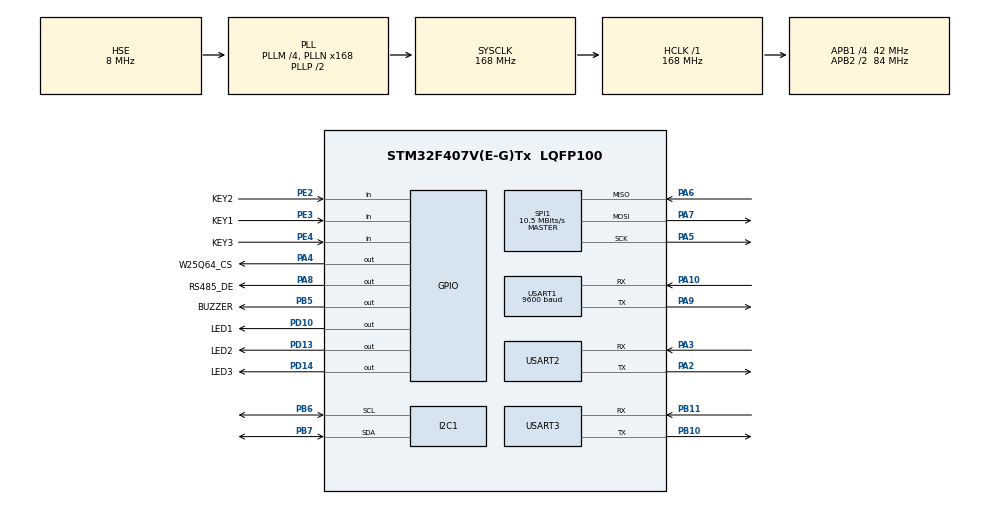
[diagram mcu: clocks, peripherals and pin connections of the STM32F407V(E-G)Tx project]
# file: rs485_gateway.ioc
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Dma.Request0=USART1_RX
Dma.Request1=USART3_RX
Dma.USART1_RX.0.Direction=DMA_PERIPH_TO_MEMORY
Dma.USART1_RX.0.FIFOMode=DMA_FIFOMODE_DISABLE
Dma.USART1_RX.0.Instance=DMA2_Stream2
Dma.USART1_RX.0.MemDataAlignment=DMA_MDATAALIGN_BYTE
Dma.USART1_RX.0.MemInc=DMA_MINC_ENABLE
Dma.USART1_RX.0.Mode=DMA_NORMAL
Dma.USART1_RX.0.PeriphDataAlignment=DMA_PDATAALIGN_BYTE
Dma.USART1_RX.0.PeriphInc=DMA_PINC_DISABLE
Dma.USART1_RX.0.Priority=DMA_PRIORITY_LOW
Dma.USART3_RX.1.Direction=DMA_PERIPH_TO_MEMORY
Dma.USART3_RX.1.FIFOMode=DMA_FIFOMODE_DISABLE
Dma.USART3_RX.1.Instance=DMA1_Stream1
Dma.USART3_RX.1.MemDataAlignment=DMA_MDATAALIGN_BYTE
Dma.USART3_RX.1.MemInc=DMA_MINC_ENABLE
Dma.USART3_RX.1.Mode=DMA_NORMAL
Dma.USART3_RX.1.PeriphDataAlignment=DMA_PDATAALIGN_BYTE
Dma.USART3_RX.1.PeriphInc=DMA_PINC_DISABLE
Dma.USART3_RX.1.Priority=DMA_PRIORITY_LOW
I2C1.I2C_Mode=I2C_Fast
Mcu.Family=STM32F4
Mcu.Name=STM32F407V(E-G)Tx
Mcu.Package=LQFP100
NVIC.DMA1_Stream1_IRQn=true\:5\:0\:true\:false\:true\:false\:true\:true
NVIC.DMA2_Stream2_IRQn=true\:5\:0\:true\:false\:true\:false\:true\:true
NVIC.PriorityGroup=NVIC_PRIORITYGROUP_4
NVIC.TIM6_DAC_IRQn=true\:15\:0\:false\:false\:true\:false\:true\:true
NVIC.TimeBase=TIM6_DAC_IRQn
NVIC.TimeBaseIP=TIM6
NVIC.USART1_IRQn=true\:5\:0\:true\:false\:true\:true\:true\:true
NVIC.USART3_IRQn=true\:5\:0\:true\:false\:true\:true\:true\:true
PA10.Mode=Asynchronous
PA10.Signal=USART1_RX
PA13.Mode=Serial_Wire
PA13.Signal=SYS_JTMS-SWDIO
PA14.Mode=Serial_Wire
PA14.Signal=SYS_JTCK-SWCLK
PA2.Mode=Asynchronous
PA2.Signal=USART2_TX
PA3.Mode=Asynchronous
PA3.Signal=USART2_RX
PA4.GPIO_Label=W25Q64_CS
PA4.GPIO_Speed=GPIO_SPEED_FREQ_VERY_HIGH
PA4.PinState=GPIO_PIN_SET
PA4.Signal=GPIO_Output
PA5.Mode=Full_Duplex_Master
PA5.Signal=SPI1_SCK
PA6.Mode=Full_Duplex_Master
PA6.Signal=SPI1_MISO
PA7.Mode=Full_Duplex_Master
PA7.Signal=SPI1_MOSI
PA8.GPIO_Label=RS485_DE
PA8.Signal=GPIO_Output
PA9.Mode=Asynchronous
PA9.Signal=USART1_TX
PB10.Mode=Asynchronous
PB10.Signal=USART3_TX
PB11.Mode=Asynchronous
PB11.Signal=USART3_RX
PB5.GPIO_Label=BUZZER
PB5.GPIO_PuPd=GPIO_NOPULL
PB5.PinState=GPIO_PIN_SET
PB5.Signal=GPIO_Output
PB6.Mode=I2C
PB6.Signal=I2C1_SCL
PB7.Mode=I2C
PB7.Signal=I2C1_SDA
PD10.GPIO_Label=LED1
PD10.Signal=GPIO_Output
PD13.GPIO_Label=LED2
PD13.Signal=GPIO_Output
PD14.GPIO_Label=LED3
PD14.Signal=GPIO_Output
PE2.GPIO_Label=KEY2
PE2.GPIO_PuPd=GPIO_PULLUP
PE2.Signal=GPIO_Input
PE3.GPIO_Label=KEY1
PE3.GPIO_PuPd=GPIO_PULLUP
PE3.Signal=GPIO_Input
PE4.GPIO_Label=KEY3
PE4.GPIO_PuPd=GPIO_PULLUP
PE4.Signal=GPIO_Input
PH0-OSC_IN.Mode=HSE-External-Oscillator
PH0-OSC_IN.Signal=RCC_OSC_IN
PH1-OSC_OUT.Mode=HSE-External-Oscillator
PH1-OSC_OUT.Signal=RCC_OSC_OUT
ProjectManager.HeapSize=0x200
ProjectManager.StackSize=0x400
ProjectManager.TargetToolchain=MDK-ARM V5.32
RCC.48MHZClocksFreq_Value=84000000
RCC.AHBFreq_Value=168000000
RCC.APB1CLKDivider=RCC_HCLK_DIV4
RCC.APB1Freq_Value=42000000
RCC.APB1TimFreq_Value=84000000
RCC.APB2CLKDivider=RCC_HCLK_DIV2
RCC.APB2Freq_Value=84000000
RCC.APB2TimFreq_Value=168000000
RCC.CortexFreq_Value=168000000
RCC.HCLKFreq_Value=168000000
RCC.HSE_VALUE=8000000
RCC.HSI_VALUE=16000000
RCC.LSE_VALUE=32768
RCC.PLLM=4
RCC.PLLN=168
RCC.PLLSourceVirtual=RCC_PLLSOURCE_HSE
RCC.SYSCLKFreq_VALUE=168000000
RCC.SYSCLKSource=RCC_SYSCLKSOURCE_PLLCLK
RCC.VCOOutputFreq_Value=336000000
SPI1.BaudRatePrescaler=SPI_BAUDRATEPRESCALER_8
SPI1.CalculateBaudRate=10.5 MBits/s
SPI1.Direction=SPI_DIRECTION_2LINES
SPI1.Mode=SPI_MODE_MASTER
SPI1.VirtualType=VM_MASTER
USART1.BaudRate=9600
USART1.VirtualMode=VM_ASYNC
USART2.VirtualMode=VM_ASYNC
USART3.VirtualMode=VM_ASYNC
VP_SYS_VS_tim6.Mode=TIM6
board=custom

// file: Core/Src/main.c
/* USER CODE BEGIN Header */
/**
  ******************************************************************************
  * @file           : main.c
  * @brief          : Main program body
  ******************************************************************************
  * @attention
  *
  * Copyright (c) 2026 STMicroelectronics.
  * All rights reserved.
  *
  * This software is licensed under terms that can be found in the LICENSE file
  * in the root directory of this software component.
  * If no LICENSE file comes with this software, it is provided AS-IS.
  *
  ******************************************************************************
  */
/* USER CODE END Header */
#include "main.h"
#include "dma.h"
#include "i2c.h"
#include "spi.h"
#include "usart.h"
#include "gpio.h"

/* USER CODE BEGIN Includes */
#include <stdio.h>
#include "rs485.h"
#include "modbus.h"
#include "oled.h"
#include <string.h>
#include <stdarg.h>
#include "esp01s.h"
#include "param.h"       /* 报警阈值掉电保存（Flash 扇区 11） */
#include "w25q64.h"      /* 外部 SPI Flash：OTA 固件暂存与备份 */
#include "ota.h"         /* OTA 共享定义：分区地址 / 暂存区头部 / CRC16 */
#include "FreeRTOS.h"
#include "task.h"
#include "queue.h"
#include "semphr.h"

/* USER CODE END Includes */

/* USER CODE BEGIN PD */
#define WIFI_SSID    "YOUR_SSID"       /* 2.4G 热点名（ESP-01S 只支持 2.4G，勿填 5G） */
#define WIFI_PWD     "YOUR_PASSWORD"   /* 热点密码 */
/* ---- 上报目标：含义随 USE_MQTT（定义在 esp01s.h）变化 ----
 * USE_MQTT=1 → MQTT broker：填PC 的 IP，由 PC 上的 portproxy 转发到 EMQX 虚拟机
 *              （EMQX 在 VMware NAT 网 192.168.137.128，ESP 进不去该网段，故必须经 PC 转发）
 * USE_MQTT=0 -> 裸 TCP：填 PC 网络调试助手的地址，端口与助手的 TCPServer 一致 */
#define SERVER_IP    "192.168.1.100"   /* PC 在该网络下的 IP（换网络必须同步改，用 ipconfig 查） */
#if USE_MQTT
#define SERVER_PORT  1883              /* MQTT broker 端口 */
#else
#define SERVER_PORT  8000              /* PC 网络调试助手 TCPServer 端口 */
#endif
#define REPORT_MS    5000              /* 数据上报周期 */

/* W25Q64 上电自检开关：1 = 每次上电跑一次读写一致性测试（读 JEDEC ID、
 * 擦一个扇区、写 256 B 递增模式、读回比对）。
 * 接线验证阶段可临时改为 1；正常运行时保持 0 —— 该自检会擦掉暂存区首个扇区，
 * 而暂存区在 OTA 流程中用于存放待搬运的固件。 */
#define W25Q64_SELFTEST_ON_BOOT   0
/* USER CODE END PD */

/* USER CODE BEGIN PV */
SemaphoreHandle_t xMutexUART2;    /* UART2 打印互斥锁：多任务 printf 串行化，防输出乱行 */
QueueHandle_t     xQueueSensor;   /* 采集→显示/网络 队列：深 1，Overwrite 写入，永远保留最新帧 */
SemaphoreHandle_t xMutexRS485;    /* RS485 总线互斥锁：总线为共享资源，禁止多任务同时收发 */

/* USER CODE END PV */

void SystemClock_Config(void);
/* USER CODE BEGIN PFP */
int fputc(int ch, FILE *f);
void print_hex(const char *tag, uint8_t *buf, uint16_t len);
void UART2_PrintLine(const char *s);
/* USER CODE END PFP */

/* USER CODE BEGIN 0 */
/* ============================================================================
 * 应用层：FreeRTOS 多任务 + 业务逻辑
 *   任务优先级：sensor(3) > led(2) > net/oled/key(1)
 *   数据流：vTaskSensor 采集 → xQueueSensor(Overwrite 深1) → vTaskOLED / vTaskNet
 *   报警流：Alarm_Check(温度越上限) → alarm_active → vTaskLED 轮闪 + 蜂鸣器
 * ==========================================================================*/
typedef enum {
    SENSOR_TH = 0,      /* 温湿度传感器（寄存器 0x0000 起） */
    SENSOR_LIGHT        /* 光照传感器（寄存器 0x0002 起） */
} SensorType_t;

typedef struct {
    uint8_t      online;    /* 在线标志：1=最近一次轮询成功 */
    SensorType_t type;      /* 传感器类型，决定 Sensor_Parse 的解析分支 */
    uint8_t      func;      /* Modbus 功能码：0x03 保持寄存器 / 0x04 输入寄存器
                             *    按各从机手册选定 —— 测量值通常在输入寄存器，参数在保持寄存器 */
    uint16_t     reg_start; /* 起始寄存器 */
    float        temp;      /* 温度 ℃（SENSOR_TH 有效） */
    float        humi;      /* 湿度 %RH（SENSOR_TH 有效） */
    float        lux;       /* 光照度 Lux（SENSOR_LIGHT 有效） */
    uint32_t     err_cnt;   /* 累计通信错误次数（诊断总线健康度） */
} Sensor_t;

/* 功能码按各从机手册选定（这是"代码 / 手册 / 简历三方一致"的关键）：
 *    光照 B-RS-L30      ：测量值在 0x0002，手册给的是 0x03 读保持寄存器
 *    温湿度 HKDZ-SHT30-RS：测量值在 0x0000/0x0001，手册给的是 0x04 读输入寄存器 */
Sensor_t sensor_light = { .type = SENSOR_LIGHT, .func = 0x03, .reg_start = 0x0002 };
Sensor_t sensor_th    = { .type = SENSOR_TH,    .func = 0x04, .reg_start = 0x0000 };

/* 上报载荷：由 vTaskSensor 打包写入，OLED/网络任务消费最新一帧 */
typedef struct {
    uint8_t  light_online;
    uint8_t  th_online;
    float    lux;
    float    temp;
    float    humi;
    uint8_t  alarm;
} SensorReport_t;

SensorReport_t g_report;   /* 队列载荷全局缓冲：仅 vTaskSensor 写入，vTaskOLED / vTaskNet 只读 */

/* 上报帧序号：vTaskNet 每发一帧自增一次，随 payload 一起上报。
 * 作用：为 ⑦ 断网缓存补传 提供「按序去重 / 检洞」的依据 —— 服务端凭 seq 就能判断
 *       是否缺帧、是否重复；也可以用来验证"同一份数据被连发多遍"这类问题。 */
uint32_t g_report_seq = 0;

/* 下行命令回包缓冲：App_MqttOnCommand() 用它拼 ack 并交给 ESP_MqttPub()。
 * 放全局而不是局部栈：ESP_MqttPub → ESP_SendCmd 调用链较深，而 vTaskNet 栈只有 768 字，
 * 把 160 字节挪到 .bss 更安全。 */
static char g_cmd_ack[160];

/**
 * @brief  解析传感器原始寄存器值 → 物理量（温度/湿度/光照）
 * @param  s    传感器描述：type 决定走哪个解析分支，结果写回 s->temp/humi/lux
 * @param  regs 从机回复的原始寄存器数组（大端序已由 Modbus 层合并）
 * @note   按真实硬件手册编码规则解析，而非通用的 int16 补码假设
 */
void Sensor_Parse(Sensor_t *s, uint16_t *regs)
{
    if (s->type == SENSOR_TH) {
        uint16_t t_raw = regs[0];   /* 寄存器 0：温度原始值 */

        /* 厂商特殊温度编码（非标准 int16 补码）：
         * - 正温：直接存储，如 250 = 25.0℃
         * - 负温：10000 + |T×10|，如 10250 = -25.0℃ */
        s->temp = (t_raw < 10000)
                  ? t_raw * 0.1f                    /* 正温：值×0.1 */
                  : -(float)(t_raw - 10000) * 0.1f; /* 负温：减偏移取反 */

        s->humi = regs[1] * 0.1f;   /* 湿度：标准正数编码 */
    } else {
        /* 光照为 32 位无符号值，跨两个 16 位寄存器（大端序）传输；
         * 强制转为 uint32_t 再左移，避免 16 位整型移位问题 */
        uint32_t raw = ((uint32_t)regs[0] << 16) | regs[1];

        s->lux = raw / 1000.0f;     /* ÷1000 得标准 Lux */
    }
}

/**
 * @brief  单次读取一个传感器（按 s->func 选 Modbus 功能码，读 2 个寄存器）
 * @param  s    传感器描述（类型/功能码/起始寄存器），结果写回 s->temp/humi/lux
 * @param  addr 从机地址（0x01 光照 / 0x02 温湿度）
 * @retval 0=成功，非0=失败（Modbus 层错误码）
 * @note   功能码由传感器自己带（0x04 → 输入寄存器；其余按 0x03 保持寄存器处理），
 *         这样新增从机时只需在实例里填手册给的功能码，不必改事务层。
 */
static int Sensor_ReadOnce(Sensor_t *s, uint8_t addr)
{
    uint16_t regs[2];
    int ret = (s->func == 0x04)
            ? Modbus_ReadInputRegs  (addr, s->reg_start, 2, regs, 300)
            : Modbus_ReadHoldingRegs(addr, s->reg_start, 2, regs, 300);

    if (ret == 0) { s->online = 1; Sensor_Parse(s, regs); }
    else          { s->online = 0; s->err_cnt++; }
    return ret;
}

/**
 * @brief  RTOS 版传感器轮询：RS485 总线锁 + 3 次重试
 * @param  s    传感器描述（结果写回 online/temp/humi/lux）
 * @param  addr 从机地址（0x01 光照 / 0x02 温湿度）
 * @note   锁外等待 + 锁内单次最短事务；锁超时跳过本轮，最多重试 3 次
 */
static void Sensor_PollRTOS(Sensor_t *s, uint8_t addr)
{
    for (int attempt = 0; attempt < 3; attempt++) {      /* 首轮 + 2 次重试 */
        if (attempt > 0) vTaskDelay(pdMS_TO_TICKS(50));  /* 重试前让出锁并延时 */

        if (xSemaphoreTake(xMutexRS485, pdMS_TO_TICKS(1000)) != pdTRUE) {
            UART2_PrintLine("[sensor] RS485 bus lock timeout\r\n");
            continue;   /* 锁超时：跳过本轮，等下一采集周期 */
        }
        Sensor_ReadOnce(s, addr);      /* 锁内仅执行单次最短事务 */
        xSemaphoreGive(xMutexRS485);
        if (s->online) break;          /* 读取成功即退出重试 */
    }
    if (!s->online) {                  /* 失败：锁外打印诊断日志 */
        char buf[48];
        snprintf(buf, sizeof(buf), "sensor 0x%02X fail err=%lu\r\n", addr, (unsigned long)s->err_cnt);
        UART2_PrintLine(buf);
    }
}

/**
 * @brief  蜂鸣器开关（有源蜂鸣器，低电平触发）
 * @param  on 1=响，0=停
 */
void Buzzer_Set(uint8_t on)
{
    HAL_GPIO_WritePin(BUZZER_GPIO_Port, BUZZER_Pin,
                      on ? GPIO_PIN_RESET : GPIO_PIN_SET);
}

volatile float g_temp_alarm_high  = 35.0f;   /* 报警上限 */
volatile float g_temp_alarm_clear = 34.0f;   /* 回差解除线（=上限-1℃，防抖） */

/* 参数脏标志：阈值被改（按键 或 MQTT 远程）时置 1，由 vTaskOLED 做防抖后写 Flash。
 * 为什么不改完就立刻写：Flash 擦写会阻塞且属于低频重操作，
 * 不该挤在按键扫描/网络回调的关键路径里；交给低优先级任务统一落盘更稳。 */
volatile uint8_t g_param_dirty = 0;

#define ALARM_STEP      0.5f
#define ALARM_HIGH_MAX  60.0f
#define ALARM_HIGH_MIN  -20.0f

typedef enum { UI_NORMAL = 0, UI_SETTING } UIState_t;
volatile UIState_t g_ui_state = UI_NORMAL;

/* 报警标志：1=报警中；volatile——sensor 任务写 / LED 任务读 */
volatile uint8_t alarm_active = 0;

/**
 * @brief  温度越上限报警状态机（含回差防抖），并驱动蜂鸣器
 * @param  s 温湿度传感器（读其 online/temp，写全局 alarm_active）
 */
void Alarm_Check(Sensor_t *s)
{
    /* 三态判定 + 回差防抖 */
    if (!s->online) {                    /* 离线：强制解除，防止旧值误报 */
        alarm_active = 0;
    }
    else if (!alarm_active && s->temp > g_temp_alarm_high) {  /* 未报警 + 越上限 → 触发 */
        alarm_active = 1;
    }
    else if (alarm_active && s->temp < g_temp_alarm_clear) {  /* 报警中 + 低于回差线 → 解除 */
        alarm_active = 0;
    }
    /* 位于 [clear, high] 回差区间时状态保持不变 */

    Buzzer_Set(alarm_active);            /* 报警输出 → 蜂鸣器 */
}

/**
 * @brief  向 OLED 输出一行文本（固定 16 字符宽）
 * @note   不足 16 字符自动补空格覆盖旧内容，防止长短串切换产生残影
 */
static void UI_PrintLine(uint8_t y, const char *fmt, ...)
{
    char line[20];              /* 略大于 16，容纳格式串展开 */
    va_list ap;

    va_start(ap, fmt);
    vsnprintf(line, sizeof(line), fmt, ap);
    va_end(ap);

    size_t len = strlen(line);
    if (len < 16) memset(line + len, ' ', 16 - len);  /* 补空格 */
    line[16] = '\0';            /* 强制截断，防越界 */

    OLED_ShowString(0, y, line);
}

/**
 * @brief  按传感器最新数据刷新 OLED 正常页 4 行显示
 * @param  r 队列载荷（光照/温湿度/在线状态/报警标志）
 */
void UI_RefreshFrom(SensorReport_t *r)
{
    // 第0行：光照值或离线
    if (r->light_online) UI_PrintLine(0, "S1:%.1f Lux", r->lux);
    else                 UI_PrintLine(0, "S1:OFFLINE");

    // 第1行：温湿度或离线
    if (r->th_online)    UI_PrintLine(1, "S2:%.1fC %.1f%%", r->temp, r->humi);
    else                 UI_PrintLine(1, "S2:OFFLINE");

    // 第2行：两路在线状态
    UI_PrintLine(2, "A:%s B:%s",
                 r->light_online ? "ON " : "OFF",
                 r->th_online    ? "ON " : "OFF");

    // 第3行：报警状态
    UI_PrintLine(3, "ALARM:%s", r->alarm ? "ON " : "OFF");
}

/**
 * @brief  采集任务（优先级 3）：1s 精确周期轮询两路传感器 + 报警判定 + 投递队列
 * @note   vTaskDelayUntil 绝对节拍，长期运行不漂移；结果经 xQueueOverwrite 广播给显示/网络任务
 */
void vTaskSensor(void *arg)
{
    TickType_t last = xTaskGetTickCount();
    for (;;) {
        Sensor_PollRTOS(&sensor_light, 0x01);   /* 锁外等待 + 锁内单次事务 */
        Sensor_PollRTOS(&sensor_th,    0x02);

        Alarm_Check(&sensor_th);                /* 报警判定（仅温度越上限） */

        g_report = (SensorReport_t){
            sensor_light.online, sensor_th.online,
            sensor_light.lux, sensor_th.temp, sensor_th.humi, alarm_active };
        xQueueOverwrite(xQueueSensor, &g_report);   /* Overwrite：深1队列直接覆盖旧值，永远留最新一帧 */

        vTaskDelayUntil(&last, pdMS_TO_TICKS(1000));   /* 精确 1s，不漂移 */
    }
}

/**
 * @brief  显示任务（优先级 1）：取队列最新数据刷新 OLED；设置页时显示阈值调节界面
 * @note   Peek 不消费数据，深1+Overwrite 下总是立即拿到最新帧；200ms 节流防闪烁
 */
void vTaskOLED(void *arg)
{
    SensorReport_t r;
    static uint8_t save_cnt = 0;      /* 防抖计数：10 × 200ms = 2s */

    for (;;) {
        /* 阈值防抖保存（④ 掉电保存）：
         *    改阈值（按键或 MQTT）只置 g_param_dirty，真正的 Flash 写入放到这里 ——
         *    ① 低优先级任务上下文，不挤占按键/网络路径；
         *    ② 2 秒防抖，避免连按/连发导致反复擦写；
         *    ③ 每轮循环都会执行（无论正常页还是设置页），不会漏掉。 */
        if (g_param_dirty) {
            if (++save_cnt >= 10U) {
                g_param_dirty = 0;
                save_cnt = 0;
                (void)Param_Save();
            }
        } else {
            save_cnt = 0;
        }

        if (g_ui_state == UI_SETTING) {          /* ===== 设置页（按键调阈值） ===== */
            UI_PrintLine(0, "==TEMP SET==");
            UI_PrintLine(1, "HI:%4.1fC", g_temp_alarm_high);
            UI_PrintLine(2, "LO:%4.1fC", g_temp_alarm_clear);
            UI_PrintLine(3, "K2:+ K3:-");
            vTaskDelay(pdMS_TO_TICKS(200));      /* 设置页每 200ms 刷新 */
            continue;                            /* 保持任务循环：退出设置页后自动回到正常页 */
        }
        else if (xQueuePeek(xQueueSensor, &r, portMAX_DELAY) == pdTRUE) {
            UI_RefreshFrom(&r);
            vTaskDelay(pdMS_TO_TICKS(200));   /* 节流：深1+Overwrite 下 Peek 总是立即成功 */
        }
    }
}

int esp_ok = 0;   /* ESP TCP 连接状态：1=已连接可直接上报，0=需先重连（仅 vTaskNet 内读写） */

/**
 * @brief  网络上报任务（优先级 1）：每 REPORT_MS 周期向服务器上报最新数据
 * @note   已连接(esp_ok)直接 CIPSEND 发送；断线则后台重连（阻塞期间被高优先级任务抢占）
 */
void vTaskNet(void *arg)
{
    SensorReport_t r;
    char msg[128];  /* 原 96：改装 JSON 后最坏约 89 字节（seq/up 各 10 位 + 三个浮点最坏 9 位），留余量 */
    TickType_t last = xTaskGetTickCount();
    for (;;) {
        /* 每轮先处理 MQTT 下行 URC（非阻塞：没有 URC 就立刻返回）。
         * 放在这里的原因：vTaskNet 是本工程唯一使用 USART3 的任务，
         * 而 5s 一轮的延迟对"远程改报警阈值"完全够用。 */
        ESP_PollURC();

        vTaskDelayUntil(&last, pdMS_TO_TICKS(REPORT_MS));   /* 5s 精确周期 */
        if (xQueuePeek(xQueueSensor, &r, 100) == pdTRUE) {  /* 拿最新数据 */
            /* JSON 载荷。字段含义：
             *   seq —— 帧序号（服务端据此判缺帧/重复；⑦断网补传的前置）
             *   up  —— 自开机毫秒数（判断数据新鲜度；重启归零，与 seq 互相印证）
             *   lux/temp/humi/alarm —— 传感器数据
             * ★ 末尾不加 \r\n：MQTT 走 MQTTPUBRAW 按长度精确发送，
             *   多一个字节就会让 broker 收到非法 JSON。 */
            g_report_seq++;
            snprintf(msg, sizeof(msg),
                     "{\"seq\":%lu,\"up\":%lu,\"lux\":%.1f,\"temp\":%.1f,\"humi\":%.1f,\"alarm\":%d}",
                     (unsigned long)g_report_seq, (unsigned long)HAL_GetTick(),
                     r.lux, r.temp, r.humi, r.alarm);
            if (esp_ok) {
#if USE_MQTT
                int ret = ESP_MqttPub(MQTT_TOPIC_PUB, msg);   /* MQTT 发布（EMQX） */
#else
                int ret = ESP_SendTCP(msg);                   /* 裸 TCP 上报（回退路径） */
#endif
                printf("[ESP] r=%d %s\r\n", ret, msg);
                if (ret != 0) esp_ok = 0;     /* 发送失败 → 视为断线，下次重连 */
            } else {
                /* 断线重连：内部 HAL 忙等可阻塞数十秒，但优先级 2 会被
                 * sensor(3) 抢占，采集不受影响（OLED 是优先级1，会暂冻） */
                printf("[ESP] reconnecting...\r\n");
                esp_ok = (ESP_Init(WIFI_SSID, WIFI_PWD, SERVER_IP, SERVER_PORT) == 0);
            }
        }
    }
}

/* ======================== MQTT 下行命令处理（⑥ Day 6） ======================== */

/* ---- 轻量 JSON 取值：从 json 里取 "key":"<字符串>" ----
 * @note 这不是通用 JSON 解析器：载荷格式由本工程约定、完全可控，
 *       用 strstr 定位即可，比引入 JSON 库省代码也省栈。 */
static int JsonGetStr(const char *json, const char *key, char *out, size_t outsz)
{
    char        pat[24];
    const char *p, *q;
    size_t      n;

    snprintf(pat, sizeof(pat), "\"%s\"", key);
    p = strstr(json, pat);
    if (p == NULL) return 0;
    p = strchr(p + strlen(pat), ':');        /* 跳到键后的冒号 */
    if (p == NULL) return 0;
    q = strchr(p, '"');                      /* 值的起始引号 */
    if (q == NULL) return 0;
    q++;
    p = strchr(q, '"');                      /* 值的结束引号 */
    if (p == NULL) return 0;
    n = (size_t)(p - q);
    if (n == 0U || n >= outsz) return 0;
    memcpy(out, q, n);
    out[n] = '\0';
    return 1;
}

/* ---- 轻量十进制解析（手写 atof）----
 * @note 不用 sscanf/atof：MicroLIB 的浮点输入支持不可靠，且会吃栈；
 *       这里只需解析 "12.3" / "-5" / "30.0" 这类简单十进制，手写十几行更稳。 */
static int ParseFloat(const char *s, float *out)
{
    int   neg = 0;
    float v = 0.0f, frac = 0.1f;

    while (*s == ' ') s++;
    if (*s == '-') { neg = 1; s++; }
    else if (*s == '+') { s++; }
    if (*s < '0' || *s > '9') return 0;
    while (*s >= '0' && *s <= '9') { v = v * 10.0f + (float)(*s - '0'); s++; }
    if (*s == '.') {
        s++;
        while (*s >= '0' && *s <= '9') { v += (float)(*s - '0') * frac; frac *= 0.1f; s++; }
    }
    *out = neg ? -v : v;
    return 1;
}

/* ---- 取数值字段："key":<数字> ---- */
static int JsonGetNum(const char *json, const char *key, float *out)
{
    char        pat[24];
    const char *p;

    snprintf(pat, sizeof(pat), "\"%s\"", key);
    p = strstr(json, pat);
    if (p == NULL) return 0;
    p = strchr(p + strlen(pat), ':');
    if (p == NULL) return 0;
    return ParseFloat(p + 1, out);
}

/**
 * @brief  下发命令回调（由 esp01s.c 的 ESP_PollURC 调用）
 * @param  payload JSON 载荷（非 '\0' 结尾，需按 len 使用）
 * @param  len     载荷长度
 * @note   支持的命令：
 *           {"cmd":"set_hi","v":30.0}   改报警上限（越界自动钳位）
 *           {"cmd":"get"}               回一条当前状态（闭环验证：改完立刻能查回来）
 *         并发说明：g_temp_alarm_high 同时会被按键任务 vTaskKey写。
 *            本工程按"最后写入者胜"处理：两侧都只做「简单赋值 + 钳位」，不做读-改-写，
 *            而 float 的单次写入在 Cortex-M4 上是原子的，因此不会出现撕裂值。
 *            若将来要求"以服务端为准"，应改为加临界区或引入配置版本号。
 */
/* ======================== OTA 暂存写入（自测用）======================== */

/* ARMCC 为 scatter region 生成边界符号。取"固件有多大"要注意两点：
 * ① Load$$LR_IROM1$$Limit 在 ARMCC 5 下不生成（实测报 L6218E Undefined），
 *    所以只能用执行域符号 Image$$ER_IROM1$$Limit。
 * ② 但 ER_IROM1 只是 RO 段（代码+常量）；.sct 里 RW_IRAM1 挂在 LR_IROM1 之下，
 *    它的初始值也存在于 Flash 中、紧跟 RO 之后 —— 只搬到 RO 末尾会漏掉 RW 初值，
 *    导致搬运后 APP 的全局变量初值出错。
 * -> 折中做法：取 RO 末尾后向上取整到 16 KB，用取整带来的余量覆盖紧随其后的 RW 初值。
 *    本工程 RW-data 仅约 300 B，16 KB 余量绰绰有余；即便将来 RO 增长、偏移变动也不易踩边界。
 * 不要用 4 KB 取整 —— 实测会因余量不足（296 B < RW-data 304 B）而漏掉 RW 初值末尾。
 * 实测：ER_IROM1$$Limit = 0x0801AED8 -> RO 长 44760 B ✓ */
extern uint8_t Image$$ER_IROM1$$Limit;

/**
 * @brief  自测：把当前正在运行的 APP 自己当成一份"新固件"写进 W25Q64 暂存区
 * @param  corrupt_crc 0=写入正确的整包 CRC；非 0=故意写错的 CRC
 * @retval 0=成功；非 0=失败（1 长度非法 / 2 擦除失败 / 3 写数据失败 / 4 写头部失败）
 * @note   用途：在不接 PC 的前提下验证整条 OTA 搬运链路 ——
 *         APP 写暂存区 → 复位 → Bootloader 校验并搬运 → 仍能跑起来。
 *         corrupt_crc != 0 用于验证"刷坏不变砖"：Bootloader 应拒绝搬运、
 *         保持旧 APP 照常运行（这是 OTA 的硬指标）。
 *         这是临时测试功能；现已由 PC 通过 TCP 下发真实固件。
 *         缓冲用 static：本函数在 vTaskNet 上下文执行，其栈只有 768 字
 *            （FreeRTOS 的字 = 4 字节，约 3 KB），512 B 缓冲占比可接受，
 *            但放 .bss 更稳妥，也为后续更大分块留余地。
 *         头部最后写：若写入过程中断电，magic 不是 OTA_MAGIC ->
 *            Bootloader 视为"无有效固件"直接跳旧 APP —— 天然安全。
 */
static int Ota_PrepareSelfTest(int corrupt_crc)
{
    OtaStageHeader_t hdr;
    /* 固件大小上界（见上方 extern 处的说明）：
     *   RO 末尾 → 向上取整到 16 KB。
     * 取整粒度必须大于 RW 初值的大小，否则会漏掉紧跟在 RO 之后的 RW 初值。
     *    实测说明：先用 4 KB 取整，RO 长 44760 B → 取整后 45056 B，
     *    尾部余量只剩 296 B，而 RW-data 是 304 B -> 差 8 字节覆盖不全。
     *    改用 16 KB 取整后余量约 4 KB，远超 RW 初值，之后 RO 再增长也不易踩到边界。 */
    uint32_t ro_end  = (uint32_t)&Image$$ER_IROM1$$Limit;
    uint32_t fw_size = ((ro_end - OTA_APP_ADDR) + 0x3FFFU) & ~0x3FFFU;
    uint32_t off = 0U;
    uint16_t crc = 0xFFFFU;
    static uint8_t buf[512];

    if ((fw_size == 0U) || (fw_size > OTA_APP_MAX_SIZE)) {
        printf("[OTA] bad fw_size=%lu\r\n", (unsigned long)fw_size);
        return 1;
    }
    printf("[OTA] selftest: fw_size=%lu (0x%08lX..0x%08lX)\r\n",
           (unsigned long)fw_size, (unsigned long)OTA_APP_ADDR,
           (unsigned long)(OTA_APP_ADDR + fw_size));

    /* 1) 先擦掉暂存区需要的空间（含头部与固件数据） */
    if (W25Q64_EraseRange(OTA_STAGE_ADDR, OTA_HDR_SIZE + fw_size) != W25Q64_OK) {
        printf("[OTA] erase stage failed\r\n");
        return 2;
    }

    /* 2) 分块把 APP 自己读出来 → 累加 CRC → 写进暂存区（固件数据从 +16 开始） */
    while (off < fw_size) {
        uint32_t n = ((fw_size - off) > (uint32_t)sizeof(buf)) ? (uint32_t)sizeof(buf)
                                                              : (fw_size - off);
        const uint8_t *p = (const uint8_t *)(OTA_APP_ADDR + off);
        uint32_t i;

        for (i = 0U; i < n; i++) buf[i] = p[i];       /* 内部 Flash 只读，直接拷贝 */
        crc = Ota_CRC16Update(crc, buf, n);

        if (W25Q64_Write(OTA_STAGE_ADDR + OTA_HDR_SIZE + off, buf, n) != W25Q64_OK) {
            printf("[OTA] write stage failed @+%lu\r\n", (unsigned long)off);
            return 3;
        }
        off += n;
    }

    /* 3) 头部最后写（见函数注释：保证"半途断电 = 无有效固件"） */
    hdr.magic   = OTA_MAGIC;
    hdr.fw_size = fw_size;
    /* corrupt_crc != 0 时故意写一个错值 —— 用于验证 Bootloader 会拒绝搬运 */
    hdr.fw_crc  = corrupt_crc ? (uint32_t)(crc ^ 0xFFFFU) : (uint32_t)crc;
    hdr.version = 1U;                                  /* 自测固定填 1 */
    if (W25Q64_Write(OTA_STAGE_ADDR, (uint8_t *)&hdr, sizeof(hdr)) != W25Q64_OK) {
        printf("[OTA] write header failed\r\n");
        return 4;
    }

    /* 打印实际写进头部的 crc（hdr.fw_crc），而不是本地算出的正确值 ——
     * 这样 ota_bad 时日志与 Bootloader 侧看到的 expect 值一致，便于对照排查。 */
    printf("[OTA] staged%s: size=%lu crc=0x%04X ver=%lu -> reboot to apply\r\n",
           corrupt_crc ? " (BAD crc!)" : "",
           (unsigned long)fw_size, (unsigned)hdr.fw_crc, (unsigned long)hdr.version);
    return 0;
}

/* ======================== OTA 固件接收======================== */

#define OTA_SRV_PORT        9000U          /* PC 上 ota_sender.py 的监听端口（与脚本一致） */
#define OTA_LINE_MAX        192U           /* 单行数据最大长度（128 hex 字符 + 前后余量） */
#define OTA_RECV_TIMEOUT_MS 60000U         /* 整体接收超时（60 s，够传 98 KB） */
#define OTA_IDLE_TIMEOUT_MS 8000U          /* 连续无数据超时（8 s） */

/* 接收状态机（必须跨 ESP_StreamTake 调用保持）*/
typedef enum { OTA_S_WAIT_IPD = 0, OTA_S_IN_DATA } OtaRxState_t;

static OtaRxState_t s_ota_st     = OTA_S_WAIT_IPD;
static uint32_t     s_ota_need   = 0U;         /* 本次 +IPD 还剩多少字节未收 */
static char         s_ota_hdr[24];             /* 收集 "+IPD,<len>:" 直到冒号 */
static uint8_t      s_ota_hdrlen = 0U;
static char         s_ota_line[OTA_LINE_MAX];  /* 正在拼装的一行数据 */
static uint16_t     s_ota_linelen = 0U;

/* 本次接收的统计与结果 */
static uint32_t s_ota_off    = 0U;             /* 已写入 W25Q64 的字节数 */
static uint16_t s_ota_crc    = 0xFFFFU;        /* 累加 CRC16 */
static uint32_t s_ota_expsz  = 0U;             /* END 帧声明的总长度 */
static uint16_t s_ota_expcrc = 0U;             /* END 帧声明的 CRC */
static uint8_t  s_ota_gotend = 0U;             /* 已收到 END 帧 */
static uint8_t  s_ota_bad    = 0U;             /* 解析/写入过程中出错 */

/**
 * @brief  十进制解析（手写；MicroLIB 下 sscanf 的 %lu 不可靠）
 * @param  endp 输出解析结束位置（可为 NULL）
 */
static uint32_t Ota_ParseU32(const char *s, const char **endp)
{
    uint32_t v = 0U;
    while (*s == ' ') s++;
    while ((*s >= '0') && (*s <= '9')) {
        v = v * 10U + (uint32_t)(*s - '0');
        s++;
    }
    if (endp != NULL) *endp = s;
    return v;
}

/**
 * @brief  十六进制字符 → 数值；非法返回 -1
 */
static int Ota_HexNibble(char c)
{
    if ((c >= '0') && (c <= '9')) return (int)(c - '0');
    if ((c >= 'A') && (c <= 'F')) return (int)(c - 'A') + 10;
    if ((c >= 'a') && (c <= 'f')) return (int)(c - 'a') + 10;
    return -1;
}

/**
 * @brief  处理一行数据（已剥掉尾部 CR/LF）
 * @note   分三类：
 *           ① "END,<size>,<crc>" → 结束帧，记下期望值
 *           ② 偶数长度的纯 hex 串 → 解码 64 B，累加 CRC 并写 W25Q64
 *           ③ 其它（OK/ERROR/空行等）→ 直接忽略
 */
static void Ota_HandleLine(const char *line)
{
    static uint8_t bin[OTA_LINE_MAX / 2];      /* 静态：不占任务栈 */
    size_t   len = strlen(line);
    uint32_t binlen;
    uint32_t i;

    if (len == 0U) return;

    /* ---- ① 结束帧 ---- */
    if (strncmp(line, "END,", 4U) == 0) {
        const char *p  = line + 4U;
        const char *pe = NULL;
        s_ota_expsz = Ota_ParseU32(p, &pe);
        if ((pe != NULL) && (*pe == ',')) p = pe + 1;
        s_ota_expcrc = 0U;
        while (*p != '\0') {
            int h = Ota_HexNibble(*p);
            if (h < 0) break;
            s_ota_expcrc = (uint16_t)((s_ota_expcrc << 4) | (uint16_t)h);
            p++;
        }
        s_ota_gotend = 1U;
        printf("[OTA] END frame: size=%lu crc=0x%04X\r\n",
               (unsigned long)s_ota_expsz, (unsigned)s_ota_expcrc);
        return;
    }

    /* ---- ② hex 数据行：必须偶数长度 ---- */
    if ((len & 1U) != 0U) return;

    binlen = (uint32_t)(len / 2U);
    if (binlen > sizeof(bin)) { s_ota_bad = 1U; return; }

    for (i = 0U; i < binlen; i++) {
        int hi = Ota_HexNibble(line[i * 2U]);
        int lo = Ota_HexNibble(line[i * 2U + 1U]);
        if ((hi < 0) || (lo < 0)) return;      /* 含非 hex 字符 → 是状态行，忽略 */
        bin[i] = (uint8_t)((hi << 4) | lo);
    }

    s_ota_crc = Ota_CRC16Update(s_ota_crc, bin, binlen);   /* 累加整包 CRC */

    if ((s_ota_off + binlen) > OTA_APP_MAX_SIZE) {
        printf("[OTA] too much data (%lu), abort\r\n", (unsigned long)s_ota_off);
        s_ota_bad = 1U;
        return;
    }

    /* 这里不能做擦除 —— 擦除必须提前到接收开始之前（见 Ota_RecvFromTCP）。
     *   原因：STM32F4 擦写 Flash 时同 Bank 取指会 stall -> 中断进不来，
     *   而 UART 的 DMA 是 NORMAL 模式（收满一帧就停，要等中断回调里重新武装），
     *   中断被 stall 的几十毫秒里到达的数据会整帧丢失。
     *   实测现象：头部（最后写、无需擦）正确，而内容 CRC 不符 ——
     *   got 0x05AB, expect 0x6F75，即"收到的数据对、写进去的不对"。
     *   -> 擦除已改为在 CIPSTART 之前一次性完成。 */
    if (W25Q64_Write(OTA_STAGE_ADDR + OTA_HDR_SIZE + s_ota_off, bin, binlen) != W25Q64_OK) {
        printf("[OTA] stage write failed at +%lu\r\n", (unsigned long)s_ota_off);
        s_ota_bad = 1U;
        return;
    }
    s_ota_off += binlen;

    /* 每 8 KB 报一次进度，便于观察 */
    if ((s_ota_off & 0x1FFFU) < binlen) {
        printf("[OTA] recv %lu B\r\n", (unsigned long)s_ota_off);
    }
}

/**
 * @brief  把 ESP 收到的一段字节喂给 OTA 状态机
 * @param  buf 数据；n 字节数
 * @note   不能"按行"收：ESP-AT 的输出是 +IPD,<len>:<data>，而 <data>
 *         可能被 TCP 任意拆分（一次 +IPD 里只有半个数据行）。所以必须：
 *           状态 1：把 +IPD,<len>: 逐字节收集到冒号，解析出 <len>
 *           状态 2：精确读取 <len> 个字节，期间再按 \n 切分成"行"交给 Ota_HandleLine
 *         <len> 读完就回到状态 1 —— 这样无论 TCP 怎么拆包都能正确重组。
 */
static void Ota_Feed(const char *buf, uint16_t n)
{
    uint16_t i;

    for (i = 0U; i < n; i++) {
        char c = buf[i];

        if (s_ota_st == OTA_S_WAIT_IPD) {
            if (s_ota_hdrlen < (uint8_t)(sizeof(s_ota_hdr) - 1U)) {
                s_ota_hdr[s_ota_hdrlen++] = c;
            }
            if (c == ':') {                          /* 前缀收齐 */
                s_ota_hdr[s_ota_hdrlen] = '\0';
                if (strncmp(s_ota_hdr, "+IPD,", 5U) == 0) {
                    s_ota_need = Ota_ParseU32(s_ota_hdr + 5U, NULL);
                    s_ota_st   = OTA_S_IN_DATA;
                }
                /* 非 IPD 前缀（OK / ERROR / 空行）→ 直接丢 */
                s_ota_hdrlen = 0U;
            } else if (c == '\n') {
                s_ota_hdrlen = 0U;                   /* 整行都没有 ':' → 丢弃，防无限累积 */
            }
        } else {
            /* ---- 数据模式 ---- */
            if (c == '\n') {
                s_ota_line[s_ota_linelen] = '\0';
                Ota_HandleLine(s_ota_line);
                s_ota_linelen = 0U;
            } else if (c != '\r') {
                if (s_ota_linelen < (uint16_t)(OTA_LINE_MAX - 1U)) {
                    s_ota_line[s_ota_linelen++] = c;
                } else {
                    s_ota_linelen = 0U;              /* 超长行 → 丢弃 */
                }
            }
            if (s_ota_need > 0U) s_ota_need--;
            if (s_ota_need == 0U) s_ota_st = OTA_S_WAIT_IPD;
        }
    }
}

/**
 * @brief  把 ESP 累积流里的残留数据全部消费掉（丢弃）
 * @note   用于在建立 TCP 连接前清理回显，避免被误当成固件数据。
 */
static void Ota_DrainStream(void)
{
    char tmp[128];
    uint32_t guard = 0U;

    while ((ESP_StreamTake(tmp, sizeof(tmp)) > 0U) && (guard++ < 64U)) { }
}

/**
 * @brief  主流程：从 PC 通过 TCP 收固件 → 写 W25Q64 暂存区 → 置标志
 * @retval 0=成功（已置标志，可复位）；非 0=失败
 * @note   与 MQTT 分时复用：接收期间 MQTT 是断开的，收完（或失败）后由调用者
 *         的重连逻辑恢复（esp_ok=0 → 下一轮 ESP_Init）。
 *         与自测写入（Ota_PrepareSelfTest）的区别：本函数收的是真正的 PC 固件。
 *         本函数会阻塞（最长 60 s），只在收到 ota_recv 命令时调用 ——
 *            此时 MQTT 已断开、上报本就停着，阻塞是可接受的。
 */
static int Ota_RecvFromTCP(void)
{
    char     cmd[128];
    char     buf[256];
    uint32_t t0, tlast;
    int      ret = 1;

    /* 清状态 */
    s_ota_st = OTA_S_WAIT_IPD; s_ota_need = 0U; s_ota_hdrlen = 0U;
    s_ota_linelen = 0U; s_ota_off = 0U; s_ota_crc = 0xFFFFU;
    s_ota_expsz = 0U; s_ota_expcrc = 0U; s_ota_gotend = 0U; s_ota_bad = 0U;

    /* ---- 1) 与 MQTT 分时复用：先断开 ---- */
    printf("[OTA] disconnecting MQTT before TCP transfer...\r\n");
    (void)ESP_SendCmd("AT+MQTTDISCONNECT=0\r\n", "OK|ERROR", NULL, 2000);
    HAL_Delay(500);
    Ota_DrainStream();

    /* ---- 2) 建立到 PC 的 TCP 连接之前，先把暂存区擦干净 ----
     * 擦除必须在开始接收之前做，不能边收边擦：
     *   STM32F4 擦写 Flash 时同 Bank 取指会 stall -> 中断进不来；
     *   而 UART 的 DMA 是 NORMAL 模式（收满一帧就停，要等空闲中断回调里重新武装），
     *   中断被 stall 的几十毫秒里到达的数据会整帧丢失。
     * EraseRange 内部对整 64 KB 块会优先用块擦（0xD8，约 150 ms/块）；
     *   704 KB ≈ 11 个块 ≈ 1.7 s —— 远快于逐扇区擦（176 扇区 × 45 ms ≈ 8 s）。
     * 此段执行时 MQTT 已断开、TCP 尚未建立 ->没有任何数据流-> 擦除安全。 */
    printf("[OTA] erasing stage area (%lu KB)...\r\n",
           (unsigned long)((OTA_HDR_SIZE + OTA_APP_MAX_SIZE) / 1024U));
    if (W25Q64_EraseRange(OTA_STAGE_ADDR, OTA_HDR_SIZE + OTA_APP_MAX_SIZE) != W25Q64_OK) {
        printf("[OTA] stage erase failed\r\n");
        return 1;
    }
    printf("[OTA] stage erased\r\n");

    /* ---- 3) 建立到 PC 的 TCP 连接 ---- */
    snprintf(cmd, sizeof(cmd), "AT+CIPSTART=\"TCP\",\"%s\",%u\r\n",
             SERVER_IP, OTA_SRV_PORT);
    if (ESP_SendCmd(cmd, "CONNECT|OK", "ERROR", 8000) != 0) {
        printf("[OTA] CIPSTART failed (is ota_sender.py running on the PC?)\r\n");
        return 1;
    }
    printf("[OTA] TCP connected to %s:%u, receiving...\r\n",
           SERVER_IP, (unsigned)OTA_SRV_PORT);

    /* ---- 3) 接收循环 ---- */
    t0    = HAL_GetTick();
    tlast = t0;
    while ((s_ota_gotend == 0U) && (s_ota_bad == 0U)) {
        uint16_t n = ESP_StreamTake(buf, (uint16_t)sizeof(buf));

        if (n > 0U) {
            Ota_Feed(buf, n);
            tlast = HAL_GetTick();
        } else {
            vTaskDelay(pdMS_TO_TICKS(10));      /* 没数据就让出 CPU */
        }

        if ((HAL_GetTick() - t0) > OTA_RECV_TIMEOUT_MS) {
            printf("[OTA] recv timeout (%lu B received)\r\n", (unsigned long)s_ota_off);
            break;
        }
        if ((HAL_GetTick() - tlast) > OTA_IDLE_TIMEOUT_MS) {
            printf("[OTA] idle timeout (%lu B received)\r\n", (unsigned long)s_ota_off);
            break;
        }
    }

    /* ---- 4) 回读校验 + 落盘头部 ----
     * 先回读暂存区自己算一遍 CRC，用来一锤定音地区分两种失败：
     *    · 回读 CRC 就错  → 写入侧有问题（SPI 时序 / 信号完整性 / 供电）
     *    · 回读 CRC 对、但 Bootloader 读出来错 → 读取侧有问题
     * 之前连续几轮都是"收到的数据 CRC 对、复位后 Bootloader 读出来错"，
     * 但无法区分是写坏了还是读错了 -> 加上这一步。
     */
    if ((s_ota_gotend != 0U) && (s_ota_bad == 0U)) {
        {
            char     rbuf[256];
            uint16_t rcrc = 0xFFFFU;
            uint32_t roff = 0U;
            int      rerr = 0;

            while (roff < s_ota_off) {
                uint16_t rn = ((s_ota_off - roff) > (uint32_t)sizeof(rbuf))
                              ? (uint16_t)sizeof(rbuf) : (uint16_t)(s_ota_off - roff);
                if (W25Q64_Read(OTA_STAGE_ADDR + OTA_HDR_SIZE + roff,
                                (uint8_t *)rbuf, rn) != W25Q64_OK) {
                    rerr = 1;
                    break;
                }
                rcrc = Ota_CRC16Update(rcrc, (const uint8_t *)rbuf, rn);
                roff += rn;
            }
            if (rerr != 0) {
                printf("[OTA] readback FAILED (W25Q64 read error)\r\n");
            } else {
                printf("[OTA] readback crc=0x%04X recv crc=0x%04X\r\n",
                       (unsigned)rcrc, (unsigned)s_ota_crc);
                if (rcrc != s_ota_crc) {
                    printf("[OTA] * WRITE PATH BROKEN (data not landed correctly) *\r\n");
                }
            }
        }
    }

    if ((s_ota_gotend != 0U) && (s_ota_bad == 0U)) {
        printf("[OTA] recv done: got %lu B, exp %lu B; crc got 0x%04X exp 0x%04X\r\n",
               (unsigned long)s_ota_off, (unsigned long)s_ota_expsz,
               (unsigned)s_ota_crc, (unsigned)s_ota_expcrc);

        if ((s_ota_off == s_ota_expsz) && (s_ota_crc == s_ota_expcrc)) {
            OtaStageHeader_t h;
            h.magic   = OTA_MAGIC;
            h.fw_size = s_ota_off;
            h.fw_crc  = (uint32_t)s_ota_crc;
            h.version = 2U;                      /* PC 下发的固件记 ver=2 */
            /* 头部最后写：中途断电则 magic 不完整 -> Bootloader 视为无有效固件，天然安全 */
            if (W25Q64_Write(OTA_STAGE_ADDR, (uint8_t *)&h, sizeof(h)) == W25Q64_OK) {
                printf("[OTA] STAGED OK: size=%lu crc=0x%04X ver=%lu -> reboot to apply\r\n",
                       (unsigned long)h.fw_size, (unsigned)s_ota_crc,
                       (unsigned long)h.version);
                ret = 0;
            } else {
                printf("[OTA] header write failed\r\n");
            }
        } else {
            printf("[OTA] MISMATCH -> refuse (size/crc not match)\r\n");
        }
    } else {
        printf("[OTA] incomplete transfer (no END frame)\r\n");
    }

    /* ---- 5) 断开 TCP ---- */
    (void)ESP_SendCmd("AT+CIPCLOSE\r\n", "OK|ERROR", NULL, 2000);
    Ota_DrainStream();
    printf("[OTA] TCP closed\r\n");
    return ret;
}

void App_MqttOnCommand(const char *payload, size_t len)
{
    char  json[192];
    char  cmd[16];
    float v = 0.0f;

    if (len >= sizeof(json)) len = sizeof(json) - 1U;
    memcpy(json, payload, len);
    json[len] = '\0';

    if (!JsonGetStr(json, "cmd", cmd, sizeof(cmd))) {
        printf("[MQTT-CMD] no cmd field, ignored\r\n");
        return;
    }

    /* ---- ① 改报警上限 ---- */
    if (strcmp(cmd, "set_hi") == 0) {
        if (!JsonGetNum(json, "v", &v)) {
            printf("[MQTT-CMD] set_hi missing v, ignored\r\n");
            return;
        }
        if (v < ALARM_HIGH_MIN) v = ALARM_HIGH_MIN;       /* 越界钳位 */
        if (v > ALARM_HIGH_MAX) v = ALARM_HIGH_MAX;
        g_temp_alarm_high  = v;
        g_temp_alarm_clear = v - 1.0f;                    /* 与按键逻辑保持一致 */
        g_param_dirty = 1;   /* 标脏：远程改的阈值一样要掉电保存，走同一条持久化路径 */
        printf("[MQTT-CMD] set_hi=%.1f (range %.0f~%.0f)\r\n",
               (double)v, (double)ALARM_HIGH_MIN, (double)ALARM_HIGH_MAX);
        snprintf(g_cmd_ack, sizeof(g_cmd_ack), "{\"ack\":\"set_hi\",\"hi\":%.1f}", (double)v);
        if (esp_ok) (void)ESP_MqttPub(MQTT_TOPIC_PUB, g_cmd_ack);
        return;
    }

    /* ---- ② 查询当前状态 ---- */
    if (strcmp(cmd, "get") == 0) {
        SensorReport_t r;
        if (xQueuePeek(xQueueSensor, &r, 0) != pdTRUE) {  /* 非阻塞：拿不到就用 0 */
            r.lux = 0.0f; r.temp = 0.0f; r.humi = 0.0f; r.alarm = 0;
        }
        snprintf(g_cmd_ack, sizeof(g_cmd_ack),
                 "{\"ack\":\"get\",\"hi\":%.1f,\"lux\":%.1f,\"temp\":%.1f,\"humi\":%.1f,\"alarm\":%d}",
                 (double)g_temp_alarm_high, (double)r.lux, (double)r.temp, (double)r.humi, (int)r.alarm);
        printf("[MQTT-CMD] get\r\n");
        if (esp_ok) (void)ESP_MqttPub(MQTT_TOPIC_PUB, g_cmd_ack);
        return;
    }

    /* ---- OTA 自测：把当前 APP 自己写进 W25Q64 暂存区（验证用）----
     * 用法（MQTTX 向 rs485gw/cmd 发）：
     *   {"cmd":"ota"}      → 把当前 APP 写入暂存区（CRC 正确）
     *   {"cmd":"ota_bad"}  → 同上但故意写错 CRC—— 用于验证
     *                        "校验不过时 Bootloader 拒绝搬运、旧 APP 照常运行"
     *                        （这是 OTA 的硬指标：刷坏不能变砖）
     * 之后复位 → Bootloader 会校验并搬运 → 再次上电应能正常跑。
     * 命令名刻意用短的："ota_selftest_bad" 有 16 字符，会撑爆上面的 char cmd[16]。 */
    if ((strcmp(cmd, "ota") == 0) || (strcmp(cmd, "ota_bad") == 0)) {
        int r = Ota_PrepareSelfTest((strcmp(cmd, "ota_bad") == 0) ? 1 : 0);
        snprintf(g_cmd_ack, sizeof(g_cmd_ack), "{\"ack\":\"%s\",\"r\":%d}", cmd, r);
        if (esp_ok) (void)ESP_MqttPub(MQTT_TOPIC_PUB, g_cmd_ack);
        return;
    }

    /* ---- OTA 接收：从 PC 通过 TCP 收真实固件----
     * 用法（顺序很重要）：
     *   ① MQTTX 向 rs485gw/cmd 发 {"cmd":"ota_recv"}
     *   ② 立刻在 PC 上跑：python tools/ota_sender.py Doc/app_v1.bin
     *   ③ 设备收完并校验通过后会打印 STAGED OK → 复位 → Bootloader 搬运
     * 本命令会让设备断开 MQTT并阻塞数十秒接收固件（与 MQTT 分时复用）；
     *    返回时把 esp_ok 置 0，让 vTaskNet 的重连逻辑在下一轮恢复 MQTT。 */
    if (strcmp(cmd, "ota_recv") == 0) {
        int r = Ota_RecvFromTCP();
        esp_ok = 0;                       /* MQTT 已在接收前断开，交回重连逻辑 */
        printf("[OTA] recv result=%d, MQTT will reconnect\r\n", r);
        return;
    }

    /* ---- 未知命令：忽略并记日志（绝不让非法输入影响设备运行）---- */
    printf("[MQTT-CMD] unknown cmd=[%s], ignored\r\n", cmd);
}

/**
 * @brief  MQTT 断线回调：清掉连接标志，下一轮 vTaskNet 会走现有重连流程
 */
void App_MqttOnDisconnect(void)
{
    esp_ok = 0;
    printf("[MQTT] link lost, will reconnect\r\n");
}

/**
 * @brief  LED 指示任务（优先级 2）：报警时三灯 200ms 轮流闪烁，正常时全灭
 */
void vTaskLED(void *arg)
{
    uint8_t cur = 0;                    // 当前点亮序号 0~2
    for (;;) {
        if (alarm_active) {
            HAL_GPIO_WritePin(LED1_GPIO_Port, LED1_Pin, LED_OFF);
            HAL_GPIO_WritePin(LED2_GPIO_Port, LED2_Pin, LED_OFF);
            HAL_GPIO_WritePin(LED3_GPIO_Port, LED3_Pin, LED_OFF);
            switch (cur) {
                case 0: HAL_GPIO_WritePin(LED1_GPIO_Port, LED1_Pin, LED_ON); break;
                case 1: HAL_GPIO_WritePin(LED2_GPIO_Port, LED2_Pin, LED_ON); break;
                case 2: HAL_GPIO_WritePin(LED3_GPIO_Port, LED3_Pin, LED_ON); break;
            }
            cur = (cur + 1) % 3;
            vTaskDelay(pdMS_TO_TICKS(200));   /* 每灯 200ms */
        } else {
            HAL_GPIO_WritePin(LED1_GPIO_Port, LED1_Pin, LED_OFF);
            HAL_GPIO_WritePin(LED2_GPIO_Port, LED2_Pin, LED_OFF);
            HAL_GPIO_WritePin(LED3_GPIO_Port, LED3_Pin, LED_OFF);
            vTaskDelay(pdMS_TO_TICKS(200));
        }
    }
}

/**
 * @brief  按键任务（优先级 1）：10ms 轮询三键，软件消抖 + 边沿检测
 * @note   KEY1 切换设置页；KEY2/KEY3 在设置页内调节报警阈值
 *         消抖：连续 KEY_DEBOUNCE(2) 次采样一致才判定有效（约 20ms）
 *         边沿检测：按下仅触发一次，松开复位后才允许再次触发 */
#define KEY_DEBOUNCE  2

void vTaskKey(void *arg)
{
    uint8_t last[3]    = {1, 1, 1};   /* 最近一次采样：1=松开 0=按下 */
    uint8_t stable[3]  = {0, 0, 0};   /* 连续一致计数（消抖） */
    uint8_t pressed[3] = {0, 0, 0};   /* 本次按下是否已触发（边沿） */
    for (;;) {
        uint8_t cur[3];
        cur[0] = HAL_GPIO_ReadPin(KEY1_GPIO_Port, KEY1_Pin);
        cur[1] = HAL_GPIO_ReadPin(KEY2_GPIO_Port, KEY2_Pin);
        cur[2] = HAL_GPIO_ReadPin(KEY3_GPIO_Port, KEY3_Pin);

        for (int i = 0; i < 3; i++) {
            if (cur[i] != last[i]) {        /* 采样变化：更新，清零计数 */
                last[i]   = cur[i];
                stable[i] = 0;
            } else if (++stable[i] >= KEY_DEBOUNCE) {
                stable[i] = 0;              /* 连续一致 → 消抖确认 */
                if (cur[i] == 0) {          /* 稳定在"按下" */
                    if (!pressed[i]) {      /* 边沿：只响应一次 */
                        pressed[i] = 1;
                        if (i == 0) {                       /* KEY1: 切设置页 */
                            g_ui_state = (g_ui_state == UI_NORMAL) ? UI_SETTING : UI_NORMAL;
                            printf("[UI] %s\r\n", g_ui_state ? "SETTING" : "NORMAL");
                        } else if (i == 1) {                /* KEY2: 阈值+ */
                            if (g_ui_state == UI_SETTING) {
                                g_temp_alarm_high += ALARM_STEP;
                                if (g_temp_alarm_high > ALARM_HIGH_MAX) g_temp_alarm_high = ALARM_HIGH_MAX;
                                g_temp_alarm_clear = g_temp_alarm_high - 1.0f;
                                g_param_dirty = 1;   /* 标脏：交给 vTaskOLED 防抖落盘 */
                                printf("[UI] HI=%.1f\r\n", g_temp_alarm_high);
                            }
                        } else if (i == 2) {                /* KEY3: 阈值- */
                            if (g_ui_state == UI_SETTING) {
                                g_temp_alarm_high -= ALARM_STEP;
                                if (g_temp_alarm_high < ALARM_HIGH_MIN) g_temp_alarm_high = ALARM_HIGH_MIN;
                                g_temp_alarm_clear = g_temp_alarm_high - 1.0f;
                                g_param_dirty = 1;   /* 标脏：交给 vTaskOLED 防抖落盘 */
                                printf("[UI] HI=%.1f\r\n", g_temp_alarm_high);
                            }
                        }
                    }
                } else {
                    pressed[i] = 0;         /* 松开：复位，允许下次按下 */
                }
            }
        }
        vTaskDelay(pdMS_TO_TICKS(10));
    }
}

/* USER CODE END 0 */

int main(void)
{

  /* MCU Configuration--------------------------------------------------------*/

  /* Reset of all peripherals, Initializes the Flash interface and the Systick. */
  HAL_Init();

  /* Configure the system clock */
  SystemClock_Config();

  /* Initialize all configured peripherals */
  MX_GPIO_Init();
  MX_DMA_Init();
  MX_USART2_UART_Init();
  MX_USART1_UART_Init();
  MX_I2C1_Init();
  MX_USART3_UART_Init();
  MX_SPI1_Init();
  /* USER CODE BEGIN 2 */
  /* 必须显式开全局中断，否则经 Bootloader 跳转启动时整个 APP 会被"哑"住：
   *   Bootloader 的 JumpToApp() 跳转前会 __disable_irq()（PRIMASK=1）并清掉
   *   所有 NVIC 使能位；而 Cortex-M 的启动代码（Reset_Handler / SystemInit）
   *   不会自动开中断 -> 若这里不显式开，PRIMASK 会一直是 1
   *   -> 所有中断都进不来 -> TIM6 时基不涨 -> HAL_Delay() 死循环
   *   -> 表现为"卡在第一个用到 HAL_Delay 的地方"（本项目是 W25Q64_Init 里的
   *     HAL_Delay(10)），后面 OLED/OTA 状态打印全都不执行。
   *   实测现象：直接复位启动一切正常，经 Bootloader 跳转就卡住 ——
   *      差异正是 PRIMASK。Bootloader 侧同样也补了这一句。
   *   注：NVIC 使能位不用管 —— 各 MspInit 与 HAL_Init() 会重新使能自己需要的中断。 */
  __enable_irq();

  /* TIM6（HAL timebase）中断使能与优先级校正：
   * CubeMX 生成时该中断未在 NVIC 使能，导致 uwTick 不增长、
   * HAL_Delay 在调度器启动前卡死。此处手动 清 pending →
   * 优先级 0 → 使能，强制恢复 tick 中断。
   * 注：TIM6 中断仅调用 HAL_IncTick，不触碰任何 FreeRTOS API，
   *     优先级 0（最高）不会破坏 RTOS 临界区机制。 */
      HAL_NVIC_DisableIRQ(TIM6_DAC_IRQn);
    HAL_NVIC_ClearPendingIRQ(TIM6_DAC_IRQn);
    HAL_NVIC_SetPriority(TIM6_DAC_IRQn, 0, 0);
    HAL_NVIC_EnableIRQ(TIM6_DAC_IRQn);

    RS485_Init();
    ESP_RxInit();   /* ESP-01S 接收通道：USART3 的 DMA + 空闲中断（须在调度器启动前、USART3 初始化之后） */
    Param_Load();   /* 上电加载报警阈值：有有效参数则覆盖默认值；必要时做一次扇区整理 */
    /* 外部 SPI Flash 自检（须在 MX_SPI1_Init 之后）：读 JEDEC ID，期望 0xEF4017。
     * 读 ID 是 µs 级，放调度器前不影响启动时间。 */
    (void)W25Q64_Init();
#if W25Q64_SELFTEST_ON_BOOT
    /* 读写一致性验证：擦 1 个扇区 → 写 256 B 递增模式 → 读回比对（约 50 ms） */
    (void)W25Q64_SelfTest(OTA_STAGE_ADDR);
#endif

    /* OTA 暂存区状态：STAGED = 有一份待搬运的固件（下次复位会被 Bootloader 搬走）。
     * 这是搬运验收的关键判据：
     *     触发自测后应打印 STAGED；Bootloader 搬运成功后会变成 empty。 */
    {
        OtaStageHeader_t oh;
        if (W25Q64_Read(OTA_STAGE_ADDR, (uint8_t *)&oh, sizeof(oh)) == W25Q64_OK) {
            if (oh.magic == OTA_MAGIC) {
                printf("[OTA] stage=STAGED size=%lu crc=0x%04X ver=%lu\r\n",
                       (unsigned long)oh.fw_size, (unsigned)(oh.fw_crc & 0xFFFFU),
                       (unsigned long)oh.version);
            } else {
                printf("[OTA] stage=empty\r\n");
            }
        }
    }
    OLED_Init();

	/* ESP 配网与 TCP 连接交由 vTaskNet 后台异步完成，避免阻塞调度器启动
	 * （WiFi/CIPSTART 重试可能耗时数十秒，期间 OLED/采集任务照常运行） */

	xQueueSensor = xQueueCreate(1, sizeof(SensorReport_t));  /* 数据队列：深度 1，Overwrite 保留最新帧 */
  xMutexRS485  = xSemaphoreCreateMutex();                  /* RS485 总线互斥锁 */
	xMutexUART2 = xSemaphoreCreateMutex();									/* UART2 打印互斥锁 */
  xTaskCreate(vTaskSensor,   "sensor", 512, NULL, 3, NULL);  /* 采集任务：最高优先级（栈 512，容纳 snprintf 调用链） */
  xTaskCreate(vTaskOLED,     "oled",   512, NULL, 1, NULL);  /* OLED 显示任务（栈 512，容纳 printf(%f) 与 I2C 调用链） */
	xTaskCreate(vTaskNet,      "net",    768, NULL, 1, NULL);  /* 网络上报任务：AT 命令缓冲 + TCP 收发（栈 768） */
	xTaskCreate(vTaskKey, "key", 256, NULL, 1, NULL);   /* 按键扫描任务 */
	xTaskCreate(vTaskLED, "led", 256, NULL, 2, NULL);   /* LED 报警指示任务 */
	vTaskStartScheduler();

  /* USER CODE END 2 */

  /* Infinite loop */
  while (1)
  {

  }
}

void SystemClock_Config(void)
{
  RCC_OscInitTypeDef RCC_OscInitStruct = {0};
  RCC_ClkInitTypeDef RCC_ClkInitStruct = {0};

  /** Configure the main internal regulator output voltage
  */
  __HAL_RCC_PWR_CLK_ENABLE();
  __HAL_PWR_VOLTAGESCALING_CONFIG(PWR_REGULATOR_VOLTAGE_SCALE1);

  /** Initializes the RCC Oscillators according to the specified parameters
  * in the RCC_OscInitTypeDef structure.
  */
  RCC_OscInitStruct.OscillatorType = RCC_OSCILLATORTYPE_HSE;
  RCC_OscInitStruct.HSEState = RCC_HSE_ON;
  RCC_OscInitStruct.PLL.PLLState = RCC_PLL_ON;
  RCC_OscInitStruct.PLL.PLLSource = RCC_PLLSOURCE_HSE;
  RCC_OscInitStruct.PLL.PLLM = 4;
  RCC_OscInitStruct.PLL.PLLN = 168;
  RCC_OscInitStruct.PLL.PLLP = RCC_PLLP_DIV2;
  RCC_OscInitStruct.PLL.PLLQ = 4;
  if (HAL_RCC_OscConfig(&RCC_OscInitStruct) != HAL_OK)
  {
    Error_Handler();
  }

  /** Initializes the CPU, AHB and APB buses clocks
  */
  RCC_ClkInitStruct.ClockType = RCC_CLOCKTYPE_HCLK|RCC_CLOCKTYPE_SYSCLK
                              |RCC_CLOCKTYPE_PCLK1|RCC_CLOCKTYPE_PCLK2;
  RCC_ClkInitStruct.SYSCLKSource = RCC_SYSCLKSOURCE_PLLCLK;
  RCC_ClkInitStruct.AHBCLKDivider = RCC_SYSCLK_DIV1;
  RCC_ClkInitStruct.APB1CLKDivider = RCC_HCLK_DIV4;
  RCC_ClkInitStruct.APB2CLKDivider = RCC_HCLK_DIV2;

  if (HAL_RCC_ClockConfig(&RCC_ClkInitStruct, FLASH_LATENCY_5) != HAL_OK)
  {
    Error_Handler();
  }
}

/* USER CODE BEGIN 4 */
/* 栈溢出钩子：打印爆栈任务名并停机，便于定位（优于直接 HardFault） */
void vApplicationStackOverflowHook(TaskHandle_t xTask, char *pcTaskName)
{
    printf("STACK OVERFLOW: %s\r\n", pcTaskName);
    taskDISABLE_INTERRUPTS();
    for (;;) { }
}
/* 内存分配失败钩子：heap_4 堆耗尽时触发 */
void vApplicationMallocFailedHook(void)
{
    printf("HEAP EXHAUSTED\r\n");
    taskDISABLE_INTERRUPTS();
    for (;;) { }
}

/* printf 重定向至 UART2（调试口）。
 * 调度器运行期间经 xMutexUART2 加锁，避免多任务 printf 输出交错；
 * 调度器未启动（如时钟配置阶段）则直接发送。 */
int fputc(int ch, FILE *f)
{
    if (xMutexUART2 && xTaskGetSchedulerState() == taskSCHEDULER_RUNNING) {
        xSemaphoreTake(xMutexUART2, portMAX_DELAY);
        HAL_UART_Transmit(&huart2, (uint8_t *)&ch, 1, 10);
        xSemaphoreGive(xMutexUART2);
    } else {
        HAL_UART_Transmit(&huart2, (uint8_t *)&ch, 1, 10);
    }
    return ch;
}

/* 整行原子打印：单次加锁发送整行，避免逐字符 printf 的锁开销与行碎片 */
void UART2_PrintLine(const char *s)
{
    uint16_t len = (uint16_t)strlen(s);
    if (xMutexUART2 && xTaskGetSchedulerState() == taskSCHEDULER_RUNNING) {
        xSemaphoreTake(xMutexUART2, portMAX_DELAY);
        HAL_UART_Transmit(&huart2, (uint8_t *)s, len, 50);
        xSemaphoreGive(xMutexUART2);
    } else {
        HAL_UART_Transmit(&huart2, (uint8_t *)s, len, 50);  /* 调度器未启动时裸用 */
    }
}

void print_hex(const char *tag, uint8_t *buf, uint16_t len)
{
    printf("%s[%d]: ", tag, len);
    for (uint16_t i = 0; i < len; i++) printf("%02X ", buf[i]);
    printf("\r\n");
}

/* USER CODE END 4 */

void HAL_TIM_PeriodElapsedCallback(TIM_HandleTypeDef *htim)
{
  if (htim->Instance == TIM6)
  {
    HAL_IncTick();
  }
}

void Error_Handler(void)
{
  __disable_irq();
  while (1)
  {
  }
}
